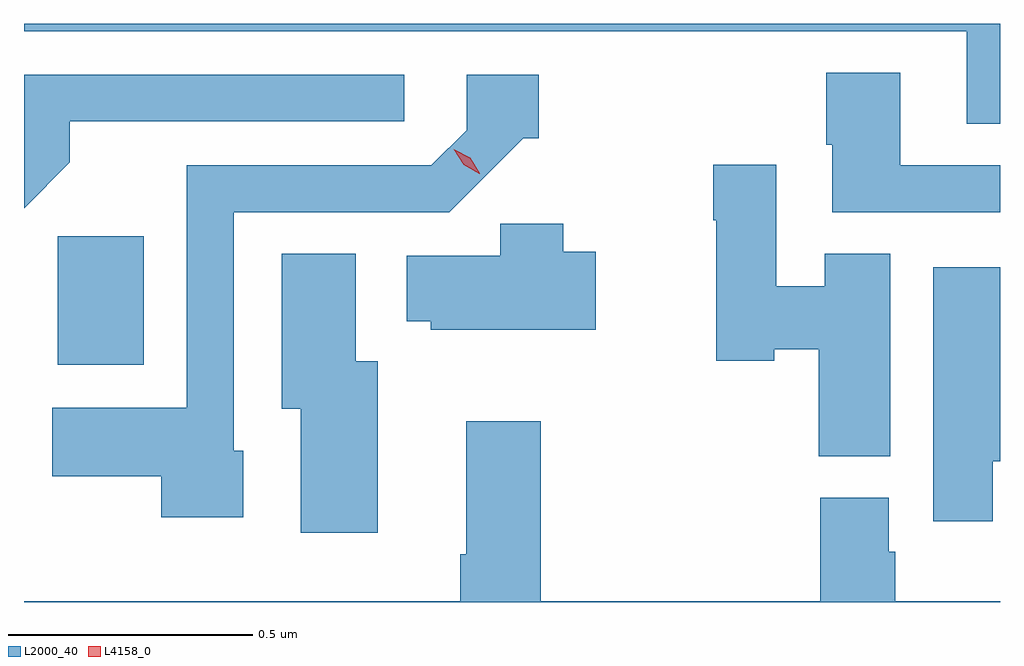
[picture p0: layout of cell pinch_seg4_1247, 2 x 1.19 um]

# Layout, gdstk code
import gdstk
lib = gdstk.Library(unit=1e-6, precision=1e-09)
def R(c, l, rs):  # rectangles x0, y0, x1, y1
    for r in rs: c.add(gdstk.rectangle(r[:2], r[2:], *l))
def P(c, l, *ps):  # polygons
    for p in ps: c.add(gdstk.Polygon(p, *l))
L2000_40 = (2000, 40)
L4158_0 = (4158, 0)

pinch_seg4_1247 = lib.new_cell('pinch_seg4_1247')
R(pinch_seg4_1247, L2000_40, [(359.816,832.1,359.992,832.364)])
P(pinch_seg4_1247, L2000_40, [(361.747,832.799),(359.747,832.799),(359.747,832.784),(361.679,832.784),(361.679,832.594),(361.747,832.594)],
  [(361.747,832.509),(361.543,832.509),(361.543,832.699),(361.391,832.699),(361.391,832.551),(361.403,832.551),(361.403,832.413),(361.747,832.413)],
  [(359.841,832.515),(359.841,832.599),(360.526,832.599),(360.526,832.695),(359.747,832.695),(359.747,832.421)],
  [(360.196,831.924),(360.177,831.924),(360.177,832.413),(360.618,832.413),(360.77,832.565),(360.802,832.565),(360.802,832.695),(360.654,832.695),(360.654,832.581),(360.582,832.509),(360.081,832.509),(360.081,832.012),(359.805,832.012),(359.805,831.872),(360.028,831.872),(360.028,831.788),(360.196,831.788)],
  [(361.522,832.328),(361.388,832.328),(361.388,832.261),(361.288,832.261),(361.288,832.51),(361.159,832.51),(361.159,832.397),(361.166,832.397),(361.166,832.109),(361.284,832.109),(361.284,832.132),(361.376,832.132),(361.376,831.913),(361.522,831.913)],
  [(360.919,832.332),(360.852,832.332),(360.852,832.389),(360.723,832.389),(360.723,832.324),(360.531,832.324),(360.531,832.19),(360.581,832.19),(360.581,832.172),(360.919,832.172)],
  [(360.472,832.108),(360.427,832.108),(360.427,832.328),(360.275,832.328),(360.275,832.01),(360.314,832.01),(360.314,831.756),(360.472,831.756)],
  [(361.732,831.903),(361.747,831.903),(361.747,832.3),(361.61,832.3),(361.61,831.78),(361.732,831.78)],
  [(361.747,831.616),(361.532,831.616),(361.532,831.717),(361.519,831.717),(361.519,831.828),(361.379,831.828),(361.379,831.616),(360.806,831.616),(360.806,831.985),(360.653,831.985),(360.653,831.712),(360.641,831.712),(360.641,831.616),(359.747,831.616),(359.747,831.614),(361.747,831.614)])
P(pinch_seg4_1247, L4158_0, [(360.68,832.492),(360.648,832.51),(360.628,832.542),(360.628,832.542),(360.628,832.542),(360.661,832.525),(360.681,832.493),(360.681,832.492)])

lib.write_gds('pinch_seg4_1247.gds')
